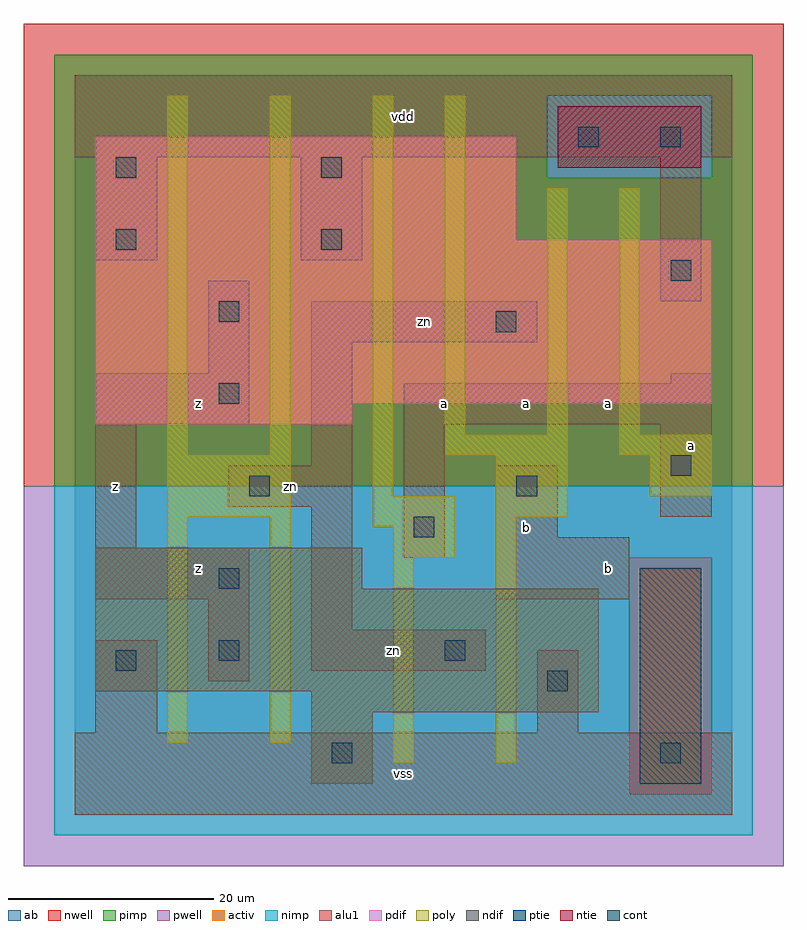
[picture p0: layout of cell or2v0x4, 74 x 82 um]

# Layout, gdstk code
import gdstk
lib = gdstk.Library(unit=1e-6, precision=1e-09)
def R(c, l, rs):  # rectangles x0, y0, x1, y1
    for r in rs: c.add(gdstk.rectangle(r[:2], r[2:], *l))
ndif = (3, 0)
pdif = (4, 0)
ntie = (5, 0)
ptie = (6, 0)
cont = (25, 0)
pwell = (41, 0)
nwell = (42, 0)
activ = (43, 0)
pimp = (44, 0)
nimp = (45, 0)
poly = (46, 0)
alu1 = (49, 0)
ab = (63, 0)

or2v0x4 = lib.new_cell('or2v0x4')
R(or2v0x4, ndif, [(23,3,29,10), (23,10,51,12), (2,12,51,22), (2,22,28,26)])
R(or2v0x4, pdif, [(2,38,27,40), (2,40,62,56), (2,56,43,66)])
R(or2v0x4, ntie, [(47,63,61,69)])
R(or2v0x4, ptie, [(55,3,61,24)])
R(or2v0x4, cont, [(25,5,27,7), (57,5,59,7), (46,12,48,14), (4,14,6,16), (14,15,16,17), (36,15,38,17), (14,22,16,24), (33,27,35,29), (17,31,19,33), (43,31,45,33), (58,33,60,35), (14,40,16,42), (41,47,43,49), (14,48,16,50), (58,52,60,54), (4,55,6,57), (24,55,26,57), (4,62,6,64), (24,62,26,64), (49,65,51,67), (57,65,59,67)])
R(or2v0x4, pwell, [(-5,-5,69,32)])
R(or2v0x4, nwell, [(-5,32,69,77)])
R(or2v0x4, activ, [(23,3,29,10), (55,3,61,24), (23,10,51,12), (2,12,51,22), (2,22,28,26), (2,38,27,40), (2,40,62,56), (2,56,43,66), (47,63,61,69)])
R(or2v0x4, pimp, [(54,2,62,25), (-2,32,66,62), (-2,62,46,70), (62,62,66,70), (-2,70,66,74)])
R(or2v0x4, nimp, [(-2,-2,66,2), (-2,2,54,25), (62,2,66,25), (-2,25,66,32), (46,62,62,70)])
R(or2v0x4, poly, [(31,5,33,25), (41,5,43,29), (9,7,11,29), (19,7,21,29), (31,25,37,28), (29,28,37,31), (9,29,21,35), (41,29,48,35), (29,31,31,70), (56,31,62,35), (9,35,11,70), (19,35,21,70), (36,35,48,37), (53,35,62,37), (36,37,38,70), (46,37,48,61), (53,37,55,61)])
R(or2v0x4, alu1, [(0,0,64,8), (2,8,8,17), (45,8,49,16), (13,13,17,21), (23,14,40,18), (23,18,27,30), (2,21,17,26), (41,21,54,27), (32,25,36,38), (2,26,6,38), (41,27,47,34), (57,29,62,38), (15,30,27,34), (23,34,27,46), (2,38,17,43), (32,38,62,42), (58,42,62,43), (13,43,17,52), (23,46,45,50), (57,50,61,64), (2,54,8,64), (22,54,28,64), (0,64,64,72)])
R(or2v0x4, ab, [(0,0,64,72)])
or2v0x4.add(gdstk.Label('zn', (31,16), layer=49, texttype=0))
or2v0x4.add(gdstk.Label('zn', (21,32), layer=49, texttype=0))
or2v0x4.add(gdstk.Label('zn', (34,48), layer=49, texttype=0))
or2v0x4.add(gdstk.Label('z', (4,32), layer=49, texttype=0))
or2v0x4.add(gdstk.Label('z', (12,24), layer=49, texttype=0))
or2v0x4.add(gdstk.Label('z', (12,40), layer=49, texttype=0))
or2v0x4.add(gdstk.Label('vss', (32,4), layer=49, texttype=0))
or2v0x4.add(gdstk.Label('b', (44,28), layer=49, texttype=0))
or2v0x4.add(gdstk.Label('a', (44,40), layer=49, texttype=0))
or2v0x4.add(gdstk.Label('a', (36,40), layer=49, texttype=0))
or2v0x4.add(gdstk.Label('vdd', (32,68), layer=49, texttype=0))
or2v0x4.add(gdstk.Label('b', (52,24), layer=49, texttype=0))
or2v0x4.add(gdstk.Label('a', (60,36), layer=49, texttype=0))
or2v0x4.add(gdstk.Label('a', (52,40), layer=49, texttype=0))

lib.write_gds('or2v0x4.gds')
